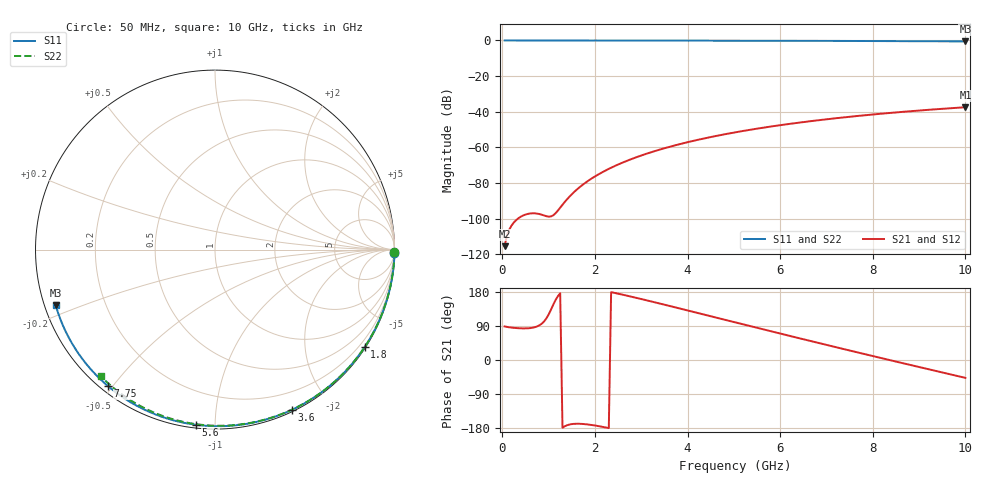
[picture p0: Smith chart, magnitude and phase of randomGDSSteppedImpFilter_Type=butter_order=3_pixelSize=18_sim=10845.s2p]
! freq	dB(S11)	phase(S11)	dB(S12)	phase(S12)
!  dB(S21)	phase(S21)	dB(S22)	phase(S22)
!S-par simulation data
#  GHz  S  DB  R 50
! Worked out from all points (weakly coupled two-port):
!   200 points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, 50 MHz to 10 GHz, reference 50 ohm
!   highest |S21| = -37.46 dB at 10 GHz (marker M1); lowest = -115.4 dB at 50 MHz (marker M2)
!   lowest |S11| = -0.5 dB at 10 GHz (marker M3), VSWR 32.39, Z = 1.59 - j8.44 ohm
!   |S11| at or under -10 dB: nowhere
!   |S22| runs from -0.4 to 0.0 dB; largest |S21 - S12| = 0
!   S11 on the Smith chart (normalised r, x): 50 MHz: open; 1.8 GHz: 0.03, -3.37; 3.6 GHz: 0.02, -1.59; 5.6 GHz: 0.02, -0.90; 7.75 GHz: 0.02, -0.49; 10 GHz: 0.03, -0.17
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0.05  -0.00 -0.9  -115.39 88.5  -115.39 88.5  -0.00 -0.8
0.45  -0.01 -8.4  -98.18 83.4  -98.18 83.4  -0.01 -6.9
0.85  -0.02 -15.8  -97.72 95.6  -97.72 95.6  -0.02 -12.9
1.3  -0.03 -24.0  -92.13 -178.6  -92.13 -178.6  -0.02 -19.7
1.75  -0.04 -32.1  -80.66 -168.9  -80.66 -168.9  -0.03 -26.3
1.8  -0.04 -33.0  -79.71 -169.4  -79.71 -169.4  -0.03 -27.1
1.95  -0.05 -35.7  -77.08 -171.8  -77.08 -171.8  -0.04 -29.3
2.1  -0.05 -38.4  -74.76 -174.9  -74.76 -174.9  -0.04 -31.5
2.3  -0.05 -41.9  -72.02 -179.7  -72.02 -179.7  -0.04 -34.4
2.5  -0.06 -45.4  -69.60 175.1  -69.60 175.1  -0.05 -37.3
2.9  -0.07 -52.4  -65.45 163.8  -65.45 163.8  -0.06 -43.1
3.4  -0.08 -60.9  -61.21 149.1  -61.21 149.1  -0.07 -50.2
3.6  -0.09 -64.3  -59.74 143.0  -59.74 143.0  -0.07 -53.0
4.3  -0.11 -75.8  -55.28 121.7  -55.28 121.7  -0.09 -62.6
5.05  -0.13 -87.7  -51.44 98.7  -51.44 98.7  -0.11 -72.6
5.6  -0.16 -96.2  -49.06 82.0  -49.06 82.0  -0.13 -79.7
6.15  -0.19 -104.6  -46.98 65.3  -46.98 65.3  -0.15 -86.7
6.7  -0.22 -112.8  -45.14 48.8  -45.14 48.8  -0.18 -93.6
7.75  -0.30 -128.1  -42.15 17.7  -42.15 17.7  -0.24 -106.2
8.35  -0.35 -136.7  -40.70 0.2  -40.70 0.2  -0.29 -113.3
9.2  -0.44 -149.0  -38.90 -24.3  -38.90 -24.3  -0.36 -123.1
10  -0.54 -160.8  -37.46 -47.1  -37.46 -47.1  -0.45 -132.2
